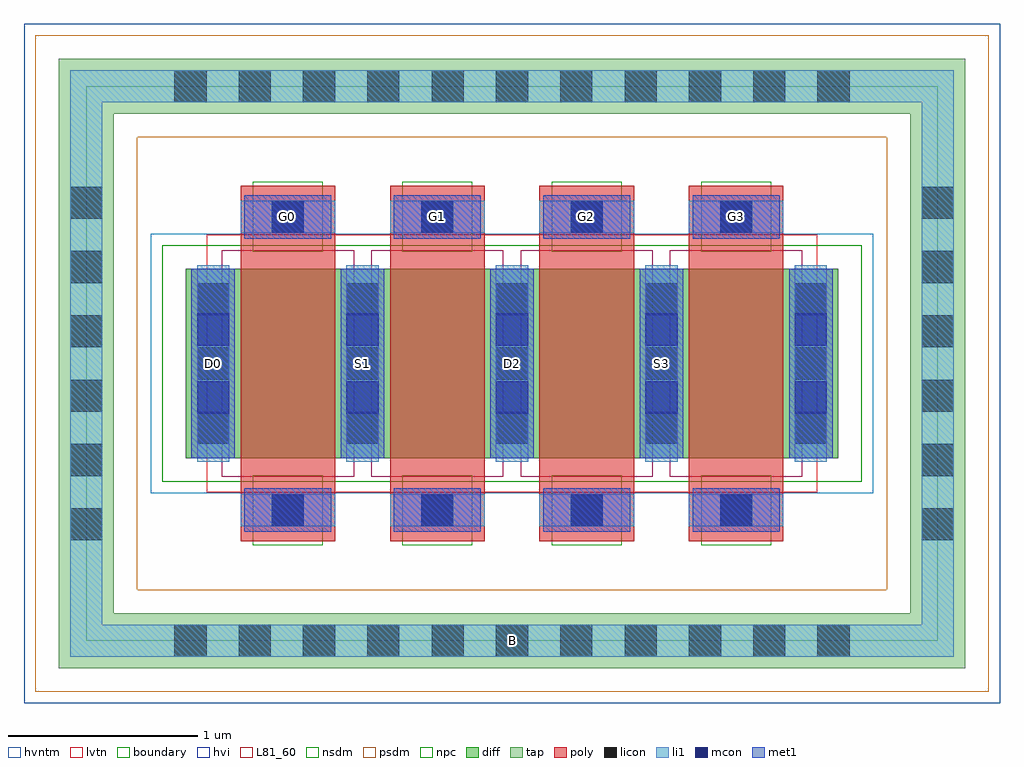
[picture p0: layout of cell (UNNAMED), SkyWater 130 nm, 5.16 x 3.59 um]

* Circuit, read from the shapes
.subckt (UNNAMED) B D0 D2 G0 G1 G2 G3 S1 S3
XM1 S1 G0 D0 B sky130_fd_pr__nfet_05v0_nvt w=1 l=0.5
XM2 D2 G1 S1 B sky130_fd_pr__nfet_05v0_nvt w=1 l=0.5
XM3 S3 G2 D2 B sky130_fd_pr__nfet_05v0_nvt w=1 l=0.5
XM4 n1 G3 S3 B sky130_fd_pr__nfet_05v0_nvt w=1 l=0.5
.ends

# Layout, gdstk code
import gdstk
lib = gdstk.Library(unit=1e-6, precision=1e-09)
def R(c, l, rs):  # rectangles x0, y0, x1, y1
    for r in rs: c.add(gdstk.rectangle(r[:2], r[2:], *l))
def A(c, l, x, y, w, h, nx, ny, dx, dy):  # array of equal rectangles
    R(c, l, [(x+i*dx, y+j*dy, x+i*dx+w, y+j*dy+h) for i in range(nx) for j in range(ny)])
diff = (65, 20)
tap = (65, 44)
poly = (66, 20)
licon = (66, 44)
li1 = (67, 20)
mcon = (67, 44)
met1 = (68, 20)
hvi = (75, 20)
L81_60 = (81, 60)
nsdm = (93, 44)
psdm = (94, 20)
npc = (95, 20)
hvntm = (125, 20)
lvtn = (125, 44)
boundary = (235, 4)

c__unnamed_ = lib.new_cell('(UNNAMED)')
R(c__unnamed_, diff, [(-1.725,-0.5,1.725,0.5)])
R(c__unnamed_, tap, [(-2.395,-1.61,2.395,-1.32), (-2.395,-1.32,-2.105,1.32), (2.105,-1.32,2.395,1.32), (-2.395,1.32,2.395,1.61)])
A(c__unnamed_, poly, -1.435, -0.94, 0.5, 1.88, 4, 1, 0.79, 0)
A(c__unnamed_, licon, -1.785, -1.55, 0.17, 0.17, 11, 2, 0.34, 2.93)
A(c__unnamed_, licon, -2.335, -0.935, 0.17, 0.17, 1, 6, 0, 0.34)
A(c__unnamed_, licon, 2.165, -0.935, 0.17, 0.17, 1, 6, 0, 0.34)
A(c__unnamed_, licon, -1.27, -0.86, 0.17, 0.17, 4, 2, 0.79, 1.55)
A(c__unnamed_, licon, -1.665, -0.425, 0.17, 0.17, 5, 3, 0.79, 0.34)
A(c__unnamed_, li1, -1.435, -0.86, 0.5, 0.17, 4, 2, 0.79, 1.55)
A(c__unnamed_, li1, -1.665, -0.52, 0.17, 1.04, 5, 1, 0.79, 0)
R(c__unnamed_, li1, [(-2.335,-1.55,2.335,-1.38), (-2.335,-1.38,-2.165,1.38), (2.165,-1.38,2.335,1.38), (-2.335,1.38,2.335,1.55)])
A(c__unnamed_, mcon, -1.27, -0.86, 0.17, 0.17, 4, 2, 0.79, 1.55)
A(c__unnamed_, mcon, -1.665, -0.265, 0.17, 0.17, 5, 2, 0.79, 0.36)
A(c__unnamed_, met1, -1.415, -0.89, 0.46, 0.23, 4, 2, 0.79, 1.55)
A(c__unnamed_, met1, -1.695, -0.5, 0.23, 1, 5, 1, 0.79, 0)
R(c__unnamed_, hvi, [(-2.58,-1.795,2.58,1.795)])
A(c__unnamed_, L81_60, -1.535, -0.6, 0.7, 1.2, 4, 1, 0.79, 0)
R(c__unnamed_, nsdm, [(-1.85,-0.625,1.85,0.625)])
R(c__unnamed_, psdm, [(-2.52,-1.735,2.52,-1.195), (-2.52,-1.195,-1.98,1.195), (1.98,-1.195,2.52,1.195), (-2.52,1.195,2.52,1.735)])
A(c__unnamed_, npc, -1.37, -0.96, 0.37, 0.37, 4, 2, 0.79, 1.55)
R(c__unnamed_, hvntm, [(-1.91,-0.685,1.91,0.685)])
R(c__unnamed_, lvtn, [(-1.615,-0.68,1.615,0.68)])
R(c__unnamed_, boundary, [(-2.25,-1.465,2.25,1.465)])
c__unnamed_.add(gdstk.Label('B', (0,-1.465), layer=67, texttype=5))
c__unnamed_.add(gdstk.Label('D0', (-1.58,0), layer=67, texttype=5))
c__unnamed_.add(gdstk.Label('G0', (-1.185,0.775), layer=67, texttype=5))
c__unnamed_.add(gdstk.Label('S1', (-0.79,0), layer=67, texttype=5))
c__unnamed_.add(gdstk.Label('G1', (-0.395,0.775), layer=67, texttype=5))
c__unnamed_.add(gdstk.Label('D2', (0,0), layer=67, texttype=5))
c__unnamed_.add(gdstk.Label('G2', (0.395,0.775), layer=67, texttype=5))
c__unnamed_.add(gdstk.Label('S3', (0.79,0), layer=67, texttype=5))
c__unnamed_.add(gdstk.Label('G3', (1.185,0.775), layer=67, texttype=5))

lib.write_gds('_UNNAMED_.gds')
